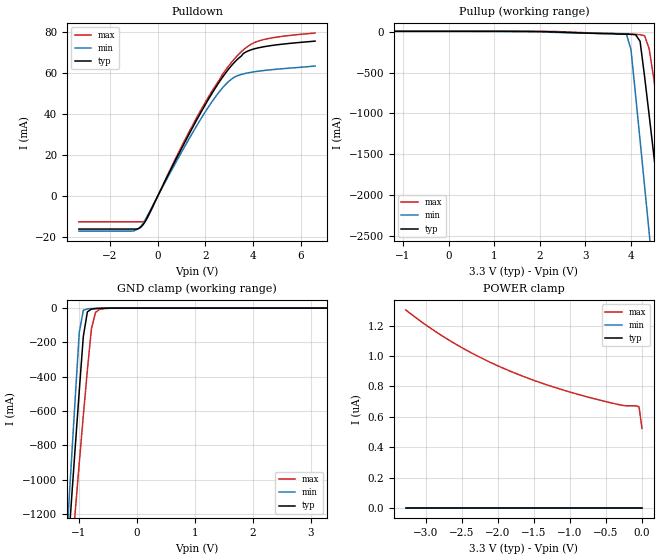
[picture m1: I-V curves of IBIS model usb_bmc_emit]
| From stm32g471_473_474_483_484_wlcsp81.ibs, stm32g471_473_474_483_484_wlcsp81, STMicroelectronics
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|   Model usb_bmc_emit
[Model]  usb_bmc_emit
Model_type I/O
Polarity   Non-Inverting
Enable   Active-Low
Vinl =   0.990000V
Vinh =   2.310000V
Vmeas =  0.800000V
Cref =   40.000000pF
Rref =   100.000000M
Vref =   0.0V
C_comp   4.876300pF   4.438100pF   5.368200pF
[Temperature Range]   25.000000   -40.000000   0.125000k
[Pullup Reference]   3.300000V   3.000000V   3.600000V
[Pulldown Reference]   0.0V   0.0V   0.0V
[POWER Clamp Reference]   3.300000V   3.000000V   3.600000V
[GND Clamp Reference]   0.0V   0.0V   0.0V
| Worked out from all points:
|   slope of the pulldown table from 0 to 0.495 V, typ, clamps not added: 42.4 ohm
|   slope of the pullup table from 0 to 0.495 V, typ, clamps not added: 9.8 kohm
|   GND clamp passes 1 mA (typ) near -0.58 V on its own axis
[Pulldown]
|Voltage   I(typ)   I(min)   I(max)
-3.3V     -15.95mA   -16.96mA   -12.41mA
-1V       -15.95mA   -16.85mA   -12.41mA
-700mV    -14.99mA   -14.6mA    -12.41mA
-500mV    -11.89mA   -11.08mA   -11.66mA
1V        23.22mA    21.47mA    24.2mA
1.9V      42.69mA    39.4mA     43.83mA
2.6V      56.03mA    51.19mA    57.02mA
3.2V      65.09mA    57.96mA    66.74mA
3.6V      69.68mA    59.72mA    71.48mA
4.2V      72.34mA    60.97mA    75.61mA
5.1V      74.02mA    62.09mA    77.81mA
6.6V      75.69mA    63.55mA    79.62mA
[Pullup]
|Voltage   I(typ)   I(min)   I(max)
-3.3V     5.96mA     4.52mA     7.261mA
3.9V      -29.71mA   -27.76mA   -24.47mA
4V        -30.78mA   -215.5mA   -31.73mA
4.1V      -34.35mA   -767.1mA   -32.92mA
4.2V      -116.8mA   -1.33A     -34.86mA
4.3V      -553.1mA   -1.896A    -48.58mA
4.4V      -1.026A    -2.464A    -209.5mA
4.5V      -1.506A    -3.034A    -571.9mA
4.7V      -2.475A    -4.176A    -1.369A
4.9V      -3.451A    -5.322A    -2.193A
5V        -3.941A    -5.896A    -2.61A
6.6V      -10A       -10A       -9.439A
[GND_clamp]
|Voltage   I(typ)   I(min)   I(max)
-3.3V     -9.767A    -9.748A    -9.881A
-1.2V     -1.489A    -1.316A    -1.768A
-1.13V    -1.15A     -919.7mA   -1.477A
-1.06V    -814.4mA   -527.2mA   -1.189A
-990mV    -484.1mA   -143.5mA   -905.3mA
-920mV    -166.2mA   -12.79mA   -627.6mA
-850mV    -21.87mA   -4.525mA   -362mA
-780mV    -5.991mA   -2.839mA   -119.7mA
-710mV    -3.238mA   -1.567mA   -25.44mA
-640mV    -1.838mA   -628.9uA   -8.016mA
-290mV    -1.61uA    0A         -104.4uA
3.28V     0A         0A         431.1nA
[POWER_clamp]
|Voltage   I(typ)   I(min)   I(max)
-3.28V    0A         0A         1.304uA
-2.96V    0A         0A         1.191uA
-2.6V     0A         0A         1.083uA
-2.24V    0A         0A         989.7nA
-1.84V    0A         0A         902.9nA
-1.4V     0A         0A         823.6nA
-880mV    0A         0A         747.1nA
-320mV    0A         0A         680.5nA
-240mV    0A         0A         673.6nA
-80mV     0A         0A         672.6nA
-40mV     0A         0A         665.5nA
0V        0A         0A         524.5nA
[Ramp]
| variable   typ   min   max
dV/dt_r  0.62694/0.30497u   0.61470/0.34278u   0.62844/0.24175u
dV/dt_f  0.63782/0.30542u   0.63154/0.35031u   0.63635/0.25368u
R_load = 1.000000k
|End [Model] usb_bmc_emit
